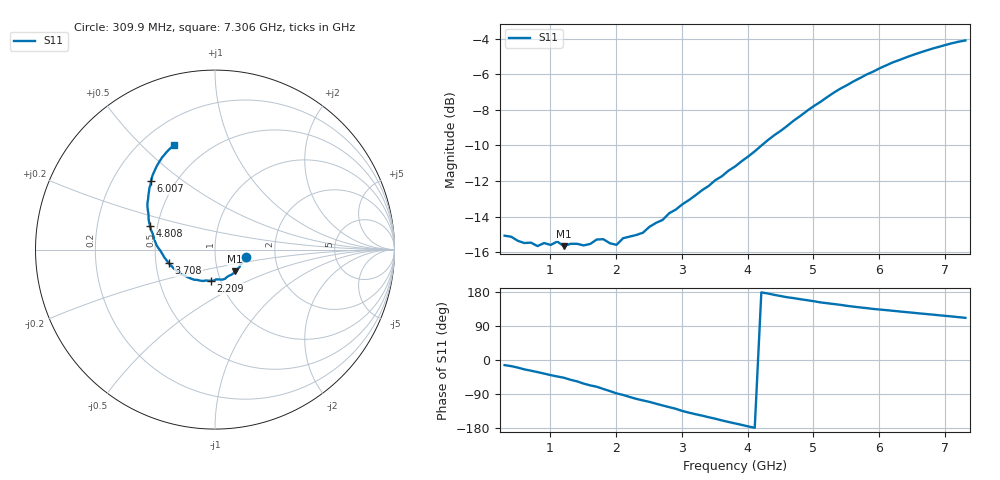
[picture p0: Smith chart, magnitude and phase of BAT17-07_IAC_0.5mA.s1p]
! Infineon Technologies  Discrete & RF Semiconductors
! BAT17-07
! IAC = 0.5 mA
! One-Port S-Parameters
# Hz  S  MA  R  50
!f  S11
!Hz  Mag  Ang
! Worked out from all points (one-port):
!   71 points, 309.9 MHz to 7.306 GHz, reference 50 ohm
!   lowest |S11| = -15.7 dB at 1.209 GHz (marker M1), VSWR 1.39, Z = 60.7 - j15 ohm
!   |S11| at or under -10 dB: start of sweep to 4.211 GHz
!   S11 on the Smith chart (normalised r, x): 309.9 MHz: 1.41, -0.12; 2.209 GHz: 0.90, -0.32; 3.708 GHz: 0.58, -0.10; 4.808 GHz: 0.46, +0.14; 6.007 GHz: 0.37, +0.38; 7.306 GHz: 0.33, +0.63
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3.0985e8  0.1762 -13.5
8.096e8  0.1648 -31.9
9.0955e8  0.168 -35.8
1.0095e9  0.166 -39.9
1.10945e9  0.1697 -43.5
1.2094e9  0.1646 -46.7
1.30935e9  0.1672 -52.1
1.50925e9  0.1655 -62.3
1.8091e9  0.1722 -76.5
2.009e9  0.1661 -88.0
2.10895e9  0.1733 -92.2
2.2089e9  0.1752 -97.5
2.4088e9  0.1796 -106.7
2.70865e9  0.1951 -119.9
2.8086e9  0.2038 -124.4
3.0085e9  0.2159 -134.5
3.30835e9  0.2367 -146.8
3.70815e9  0.2684 -163.5
3.8081e9  0.2758 -167.3
4.30785e9  0.3273 175.5
4.70765e9  0.3723 163.1
4.8076e9  0.3837 160.2
5.30735e9  0.445 147.7
5.6072e9  0.4788 140.8
6.007e9  0.5215 133.2
6.50675e9  0.568 124.7
6.8066e9  0.5921 119.8
7.30635e9  0.6242 111.2
